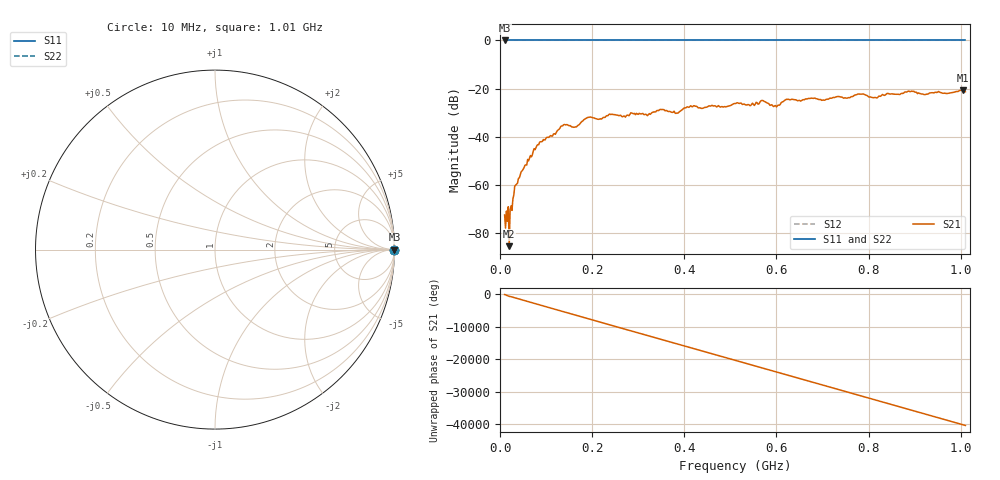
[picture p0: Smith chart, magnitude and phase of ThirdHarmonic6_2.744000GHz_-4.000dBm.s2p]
! 8/17/2025 6:49:25 AM
! C:\ANRITSUVNA\TEMP\TEMP.S2P
! CHANNEL.1
! TR.MEASUREMENT
! RAW.DATA
! RF.CORRECTION.OFF
! AVERAGING.OFF
! IF.BANDWIDTH: 5KHZ
! SWEEPTYPE:  FREQ.SWEEP(Linear)
! Reference Plane Port Info
! PORT:  PORT1  PORT2
! DISTANCE:  0  m  0  m
! TIME:  0  s  0  s
! PHASE.OFFSET:  0  deg.  0  deg.
! LOSS:  0  dB  0  dB
! REF.LOSS:  0  dB  0  dB
! REF.FREQ:  0  Hz  0  Hz
! Power Info
! POWER:  -20  dBm  -20  dBm
! EFF.POWER:  -20  dBm  -20  dBm
! SOURCE.ATTEN:  0  dB  0  dB
! TEST.ATTEN:  0  dB  0  dB
# GHZ S RI R 50.0
! FREQ.GHZ  S11RE  S11IM  S21RE  S21IM  S12RE  S12IM  S22RE  S22IM
!; PortSelection: Port_12
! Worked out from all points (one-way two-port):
!   501 points, 10 MHz to 1.01 GHz, reference 50 ohm
!   highest |S21| = -20.71 dB at 1.004 GHz (marker M1); lowest = -85.6 dB at 20 MHz (marker M2)
!   lowest |S11| = 0.0 dB at 10 MHz (marker M3)
!   |S11| at or under -10 dB: nowhere
!   |S22| runs from 0.0 to 0.0 dB; largest |S21 - S12| = 1.1
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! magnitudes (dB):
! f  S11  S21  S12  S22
! 10 MHz  0.0  -72.6  0.0  0.0
! 16 MHz  0.0  -75.2  0.0  0.0
! 20 MHz  0.0  -85.6  0.0  0.0
! 24 MHz  0.0  -68.8  0.0  0.0
! 36 MHz  0.0  -59.9  0.0  0.0
! 78 MHz  0.0  -44.6  0.0  0.0
! 136 MHz  0.0  -35.5  0.0  0.0
! 162 MHz  0.0  -36.0  0.0  0.0
! 178 MHz  0.0  -33.7  0.0  0.0
! 194 MHz  0.0  -31.9  0.0  0.0
! 322 MHz  0.0  -30.8  0.0  0.0
! 344 MHz  0.0  -29.2  0.0  0.0
! 384 MHz  0.0  -30.2  0.0  0.0
! 410 MHz  0.0  -27.8  0.0  0.0
! 510 MHz  0.0  -26.3  0.0  0.0
! 570 MHz  0.0  -25.0  0.0  0.0
! 598 MHz  0.0  -27.1  0.0  0.0
! 622 MHz  0.0  -24.5  0.0  0.0
! 678 MHz  0.0  -24.0  0.0  0.0
! 844 MHz  0.0  -22.2  0.0  0.0
! 1.004 GHz  0.0  -20.7  0.0  0.0
! 1.01 GHz  0.0  -21.3  0.0  0.0
